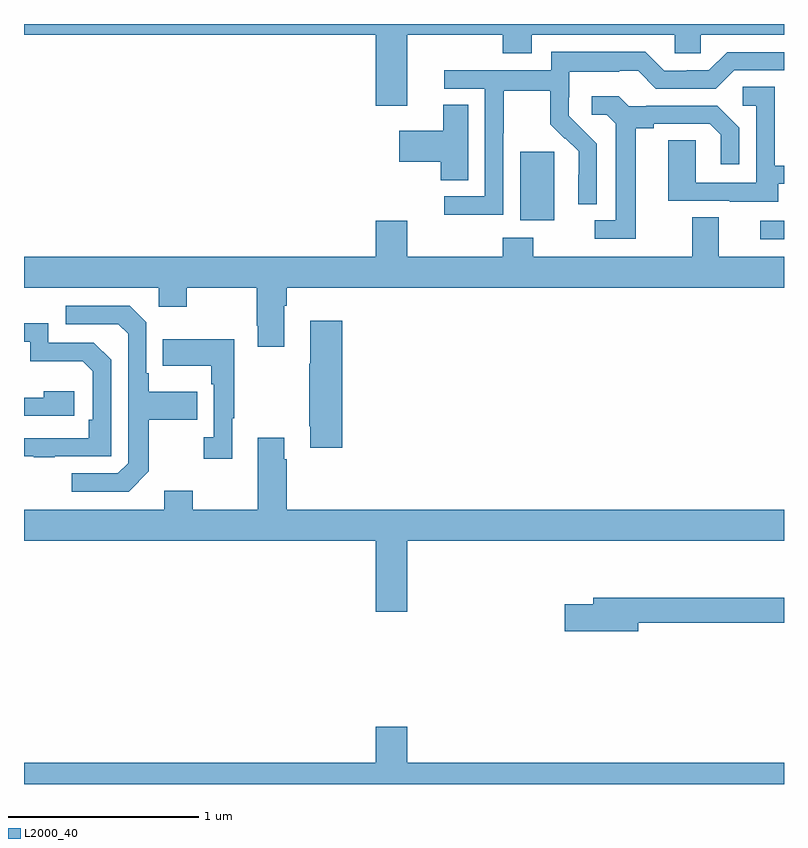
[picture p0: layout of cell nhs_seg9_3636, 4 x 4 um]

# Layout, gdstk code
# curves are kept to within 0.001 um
import gdstk
lib = gdstk.Library(unit=1e-6, precision=1e-09)
def R(c, l, rs):  # rectangles x0, y0, x1, y1
    for r in rs: c.add(gdstk.rectangle(r[:2], r[2:], *l))
def P(c, l, *ps):  # polygons
    for p in ps: c.add(gdstk.Polygon(p, *l))
L2000_40 = (2000, 40)

nhs_seg9_3636 = lib.new_cell('nhs_seg9_3636')
R(nhs_seg9_3636, L2000_40, [(322.875,1171.368,323,1171.464), (321.611,1171.466,321.79,1171.827)])
P(nhs_seg9_3636, L2000_40, [(319,1172.444),(320.852,1172.444),(320.852,1172.07),(321.016,1172.07),(321.016,1172.444),(321.521,1172.444),(321.521,1172.345),(321.673,1172.345),(321.673,1172.444),(322.425,1172.444),(322.425,1172.346),(322.563,1172.346),(322.563,1172.444),(323,1172.444),(323,1172.5),(319,1172.5)],
  [(321.522,1171.924),(321.525,1171.924),(321.525,1172.148),(321.769,1172.148),(321.769,1171.973),(321.846,1171.896),(321.849,1171.899),(321.92,1171.829),(321.92,1171.706),(321.918,1171.706),(321.918,1171.552),(322.014,1171.552),(322.014,1171.87),(321.868,1172.018),(321.868,1172.115),(321.87,1172.115),(321.87,1172.249),(322.133,1172.249),(322.133,1172.253),(322.233,1172.253),(322.326,1172.16),(322.641,1172.16),(322.737,1172.256),(323,1172.256),(323,1172.352),(322.701,1172.352),(322.605,1172.256),(322.487,1172.256),(322.487,1172.253),(322.371,1172.253),(322.271,1172.353),(321.774,1172.353),(321.774,1172.256),(321.213,1172.256),(321.213,1172.16),(321.426,1172.16),(321.426,1171.593),(321.213,1171.593),(321.213,1171.495),(321.522,1171.495)],
  [(322.969,1171.659),(323,1171.659),(323,1171.755),(322.95,1171.755),(322.95,1172.171),(322.782,1172.171),(322.782,1172.07),(322.854,1172.07),(322.854,1171.665),(322.536,1171.665),(322.536,1171.889),(322.391,1171.889),(322.391,1171.569),(322.715,1171.569),(322.715,1171.565),(322.969,1171.565)],
  [(322.219,1171.952),(322.315,1171.952),(322.315,1171.974),(322.61,1171.974),(322.667,1171.917),(322.667,1171.761),(322.764,1171.761),(322.764,1171.954),(322.648,1172.07),(322.276,1172.07),(322.276,1172.067),(322.182,1172.067),(322.13,1172.119),(321.987,1172.119),(321.987,1172.022),(322.068,1172.022),(322.115,1171.975),(322.115,1171.467),(322.005,1171.467),(322.005,1171.371),(322.219,1171.371)],
  [(321.337,1172.075),(321.206,1172.075),(321.206,1171.939),(320.976,1171.939),(320.976,1171.774),(321.194,1171.774),(321.194,1171.678),(321.337,1171.678)],
  [(320.371,1171.016),(320.384,1171.016),(320.384,1171.112),(323,1171.112),(323,1171.276),(322.657,1171.276),(322.657,1171.484),(322.517,1171.484),(322.517,1171.276),(321.681,1171.276),(321.681,1171.375),(321.521,1171.375),(321.521,1171.276),(321.016,1171.276),(321.016,1171.465),(320.852,1171.465),(320.852,1171.276),(319,1171.276),(319,1171.112),(319.71,1171.112),(319.71,1171.013),(319.857,1171.013),(319.857,1171.112),(320.224,1171.112),(320.224,1170.913),(320.231,1170.913),(320.231,1170.801),(320.371,1170.801)],
  [(319.657,1170.145),(319.657,1170.418),(319.913,1170.418),(319.913,1170.565),(319.657,1170.565),(319.657,1170.661),(319.644,1170.661),(319.644,1170.93),(319.557,1171.017),(319.221,1171.017),(319.221,1170.921),(319.497,1170.921),(319.548,1170.87),(319.548,1170.189),(319.494,1170.135),(319.251,1170.135),(319.251,1170.039),(319.551,1170.039)],
  [(320.675,1170.937),(320.507,1170.937),(320.507,1170.713),(320.5,1170.713),(320.5,1170.382),(320.507,1170.382),(320.507,1170.27),(320.675,1170.27)],
  [(319.163,1170.225),(319.458,1170.225),(319.458,1170.732),(319.368,1170.822),(319.128,1170.822),(319.128,1170.924),(319,1170.924),(319,1170.828),(319.032,1170.828),(319.032,1170.725),(319.309,1170.725),(319.362,1170.672),(319.362,1170.418),(319.342,1170.418),(319.342,1170.321),(319,1170.321),(319,1170.225),(319.051,1170.225),(319.051,1170.22),(319.163,1170.22)],
  [(320.095,1170.425),(320.107,1170.425),(320.107,1170.841),(319.729,1170.841),(319.729,1170.701),(319.986,1170.701),(319.986,1170.605),(319.998,1170.605),(319.998,1170.326),(319.947,1170.326),(319.947,1170.213),(320.095,1170.213)],
  [(319.264,1170.568),(319.103,1170.568),(319.103,1170.534),(319,1170.534),(319,1170.438),(319.264,1170.438)],
  [(321.016,1169.78),(323,1169.78),(323,1169.944),(320.384,1169.944),(320.384,1170.209),(320.371,1170.209),(320.371,1170.322),(320.231,1170.322),(320.231,1169.944),(319.887,1169.944),(319.887,1170.043),(319.739,1170.043),(319.739,1169.944),(319,1169.944),(319,1169.78),(320.852,1169.78),(320.852,1169.406),(321.016,1169.406)],
  [(322.234,1169.35),(323,1169.35),(323,1169.479),(321.995,1169.479),(321.995,1169.445),(321.846,1169.445),(321.846,1169.303),(322.234,1169.303)],
  [(323,1168.612),(321.016,1168.612),(321.016,1168.801),(320.852,1168.801),(320.852,1168.612),(319,1168.612),(319,1168.5),(323,1168.5)])

lib.write_gds('nhs_seg9_3636.gds')
